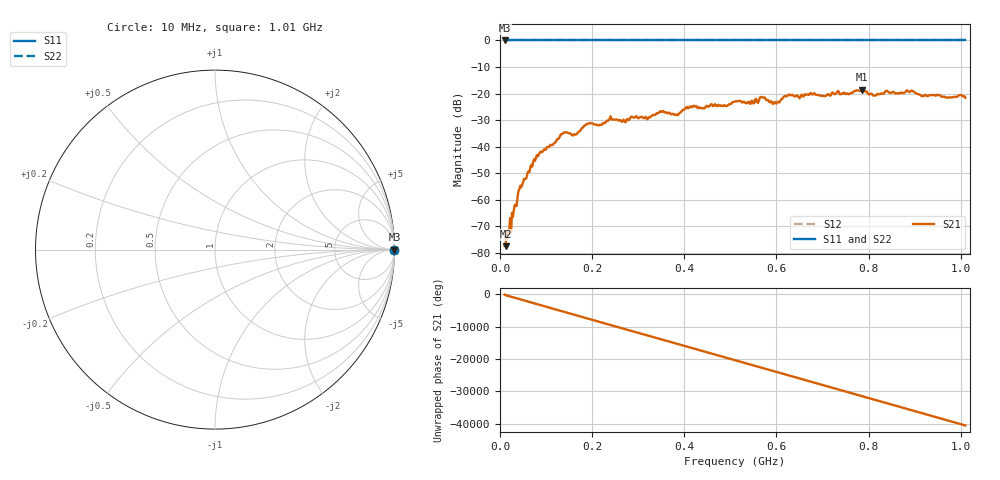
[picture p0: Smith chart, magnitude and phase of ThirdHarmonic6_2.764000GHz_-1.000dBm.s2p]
! 8/17/2025 6:59:39 AM
! C:\ANRITSUVNA\TEMP\TEMP.S2P
! CHANNEL.1
! TR.MEASUREMENT
! RAW.DATA
! RF.CORRECTION.OFF
! AVERAGING.OFF
! IF.BANDWIDTH: 5KHZ
! SWEEPTYPE:  FREQ.SWEEP(Linear)
! Reference Plane Port Info
! PORT:  PORT1  PORT2
! DISTANCE:  0  m  0  m
! TIME:  0  s  0  s
! PHASE.OFFSET:  0  deg.  0  deg.
! LOSS:  0  dB  0  dB
! REF.LOSS:  0  dB  0  dB
! REF.FREQ:  0  Hz  0  Hz
! Power Info
! POWER:  -20  dBm  -20  dBm
! EFF.POWER:  -20  dBm  -20  dBm
! SOURCE.ATTEN:  0  dB  0  dB
! TEST.ATTEN:  0  dB  0  dB
# GHZ S RI R 50.0
! FREQ.GHZ  S11RE  S11IM  S21RE  S21IM  S12RE  S12IM  S22RE  S22IM
!; PortSelection: Port_12
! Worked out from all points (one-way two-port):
!   501 points, 10 MHz to 1.01 GHz, reference 50 ohm
!   highest |S21| = -18.49 dB at 786 MHz (marker M1); lowest = -77.5 dB at 12 MHz (marker M2)
!   lowest |S11| = 0.0 dB at 10 MHz (marker M3)
!   |S11| at or under -10 dB: nowhere
!   |S22| runs from 0.0 to 0.0 dB; largest |S21 - S12| = 1.1
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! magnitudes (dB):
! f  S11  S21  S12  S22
! 10 MHz  0.0  -77.4  0.0  0.0
! 12 MHz  0.0  -77.5  0.0  0.0
! 44 MHz  0.0  -54.7  0.0  0.0
! 76 MHz  0.0  -45.3  0.0  0.0
! 136 MHz  0.0  -35.1  0.0  0.0
! 162 MHz  0.0  -35.4  0.0  0.0
! 178 MHz  0.0  -33.0  0.0  0.0
! 240 MHz  0.0  -28.6  0.0  0.0
! 322 MHz  0.0  -29.1  0.0  0.0
! 344 MHz  0.0  -27.4  0.0  0.0
! 382 MHz  0.0  -27.9  0.0  0.0
! 416 MHz  0.0  -25.2  0.0  0.0
! 510 MHz  0.0  -23.0  0.0  0.0
! 546 MHz  0.0  -22.7  0.0  0.0
! 570 MHz  0.0  -21.5  0.0  0.0
! 596 MHz  0.0  -23.2  0.0  0.0
! 624 MHz  0.0  -20.9  0.0  0.0
! 678 MHz  0.0  -20.4  0.0  0.0
! 786 MHz  0.0  -18.5  0.0  0.0
! 812 MHz  0.0  -20.7  0.0  0.0
! 844 MHz  0.0  -19.5  0.0  0.0
! 1.01 GHz  0.0  -21.6  0.0  0.0
